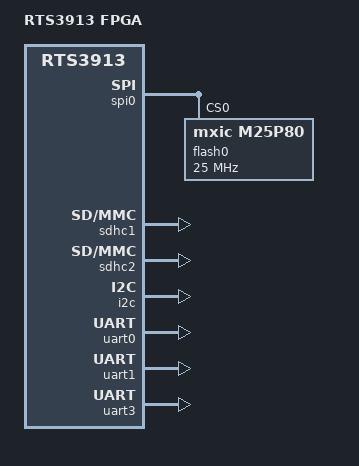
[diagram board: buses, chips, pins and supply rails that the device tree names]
/dts-v1/;

#include "rts3913_base.dtsi"

/ {
	model = "RTS3913 FPGA";
	compatible = "realtek,rts_fpga", "realtek,rts3913";

	#address-cells = <1>;
	#size-cells = <1>;

	reserved-memory {
		videomem {
			size = <0x1b00000>;
		};
	};

	ocp {
		rtl8168@18400000 {
			status = "okay";
		};

		spi0: spic@0x18030000 {
			status = "okay";

			flash0: flash@0 {
				#address-cells = <1>;
				#size-cells = <1>;
				compatible = "mxic,m25p80", "jedec,spi-nor",
					"spi-flash";
				spi-max-frequency = <25000000>;
				reg = <0>;
				mode = <0>;
				spi-num-slaves = <0>;
				spi-fifo-size = <64>;
				spi-baudr-div = <1>;
			};

		};

		sdhc1: sdhc@18300000 {
			status = "okay";
		};

		sdhc2: sdhc@18700000 {
			status = "okay";
		};

		pinctrl: pinctrl@0x18800000UL {
			status = "okay";
		};

		watchdog: watchdog@0x18862000 {
			status = "okay";
		};

		thermal: thermal@0x18864000 {
			status = "okay";
		};

		i2c: i2c@0x18880000 {
			status = "okay";
		};

		timer: timer@18890000 {
			status = "okay";
		};

		rts_mcu: rts_mcu@18040000 {
			status = "okay";
		};

		rts_soc_camera@18040000 {
			status = "okay";
		};

		rts_mjpeg_enc: rts_jpgenc@1805e000 {
			status = "okay";
		};

		rts_osd_enc: rts_osd2@1805c000 {
			status = "okay";
		};

		rts_h265_vpucodec@0x180c0000 {
			status = "okay";
		};

		uart0: serial@18810000 {
			status = "okay";
		};

		uart1: serial@18810100 {
			status = "okay";
		};

		uart3: serial@18810200 {
			status = "okay";
		};
	};
};
